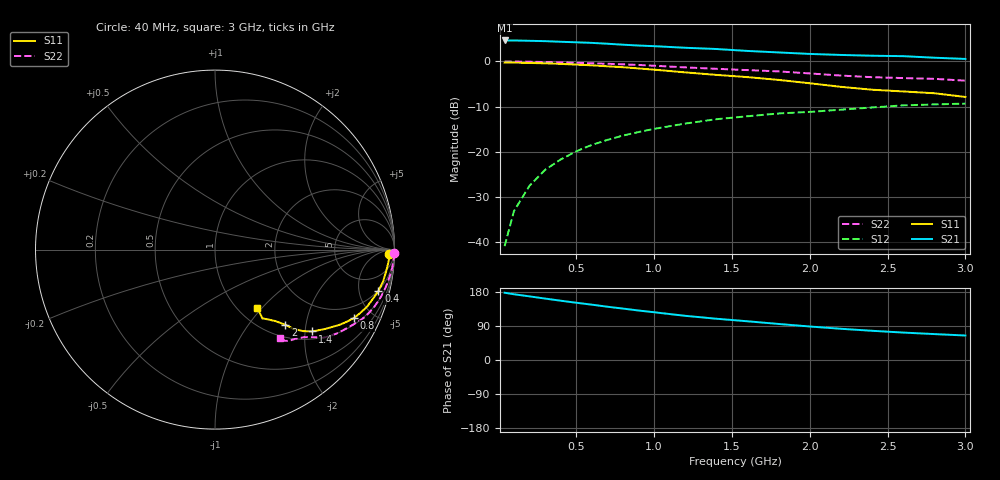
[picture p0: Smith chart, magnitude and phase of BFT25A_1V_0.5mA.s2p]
! Filename:  BFT25AC.S2P  Version:  2.0
! Philips part #: BFT25A  Date: Aug 1990
! Bias condition: Vce=1V, Ic=0.5mA
#  MHz  S  MA  R  50
! Freq  S11  S21  S12  S22  !GUM [dB]
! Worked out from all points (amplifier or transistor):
!   21 points, 40 MHz to 3 GHz, reference 50 ohm
!   highest |S21| = 4.6 dB at 40 MHz (marker M1)
!   |S21| within 3 dB of that: start of sweep to 2.014 GHz
!   unconditionally stable (mu >= 1): 2.626 GHz to end of sweep
!   at 300 MHz: K = 0.17, MSG = 14.2 dB, |S12| = -24.0 dB
!   at 1 GHz: K = 0.50, MSG = 9.2 dB, |S12| = -14.9 dB
!   at 3 GHz: K = 1.09, MAG = 3.1 dB, |S12| = -9.3 dB
!   S11 on the Smith chart (normalised r, x): 40 MHz: 38, -34; 400 MHz: 1.94, -7.54; 800 MHz: 1.30, -3.89; 1.4 GHz: 1.19, -2.19; 2 GHz: 1.23, -1.53; 3 GHz: 1.21, -0.95
40  0.971 -1.5  1.706 177.5  0.009 85.6  0.998 -1.2
100  0.97 -3.7  1.706 173.5  0.022 85.9  0.997 -3.1
200  0.961 -7.3  1.691 167.9  0.042 84.5  0.992 -6.1
300  0.953 -10.8  1.676 162.1  0.063 81.8  0.984 -9.1
400  0.939 -14.2  1.65 156.5  0.082 79.4  0.975 -12.1
500  0.921 -17.4  1.628 151.1  0.101 77.3  0.965 -14.9
600  0.905 -20.6  1.604 146.0  0.119 75.0  0.954 -17.5
700  0.882 -23.7  1.569 140.6  0.135 73.1  0.942 -19.9
800  0.863 -26.2  1.531 135.7  0.151 70.8  0.928 -22.2
900  0.836 -28.8  1.499 130.6  0.165 69.1  0.914 -24.4
1000  0.81 -31.2  1.475 126.0  0.179 67.0  0.896 -26.4
1200  0.756 -35.8  1.416 116.6  0.205 63.3  0.859 -30.4
1400  0.709 -40.0  1.372 108.9  0.229 60.6  0.828 -34.1
1600  0.67 -42.7  1.306 102.2  0.247 58.4  0.801 -37.0
1800  0.624 -45.2  1.257 95.1  0.265 56.4  0.775 -39.4
2000  0.573 -46.9  1.21 88.4  0.276 53.7  0.736 -41.5
2200  0.523 -49.7  1.179 82.4  0.292 51.4  0.697 -44.4
2400  0.486 -53.0  1.156 77.1  0.309 49.5  0.669 -48.0
2600  0.465 -55.5  1.143 72.4  0.326 48.3  0.654 -51.0
2800  0.444 -55.0  1.099 68.4  0.334 47.4  0.641 -52.5
3000  0.404 -54.2  1.065 64.6  0.341 46.8  0.612 -53.6
